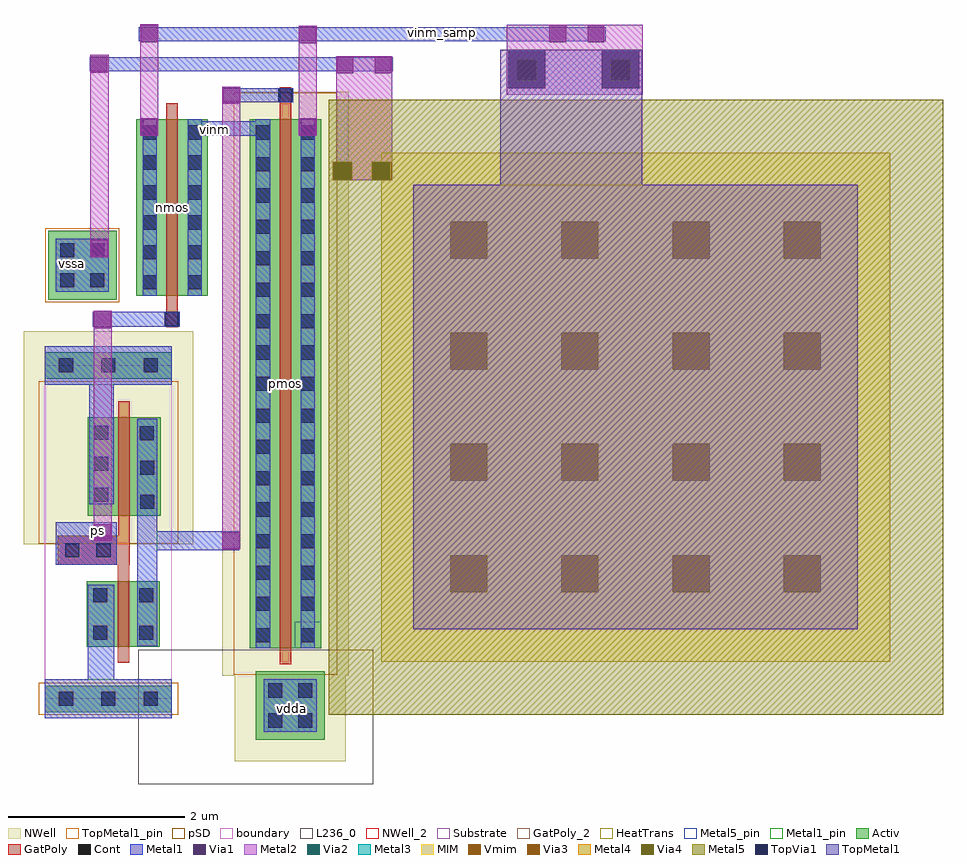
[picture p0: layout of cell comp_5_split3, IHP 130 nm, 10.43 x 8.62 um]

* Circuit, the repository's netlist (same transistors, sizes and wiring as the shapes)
* Extracted by KLayout with SG13G2 LVS runset on : 09/05/2024 11:33

* cell comp_5_split3
* pin sub!
.SUBCKT comp_5_split3 sub!
* device instance $1 r0 *1 -2.627,-4.93 sg13_lv_nmos
M$1 sub! \$10 \$6 sub! sg13_lv_nmos W=0.74 L=0.13
* device instance $2 r0 *1 -2.074,-0.319 sg13_lv_nmos
M$2 \$8 \$10 \$7 sub! sg13_lv_nmos W=2.0 L=0.13
* device instance $3 r0 *1 -2.617,-3.255 sg13_lv_pmos
M$3 \$11 \$10 \$6 \$11 sg13_lv_pmos W=1.12 L=0.13
* device instance $4 r0 *1 -0.789,-2.319 sg13_lv_pmos
M$4 \$7 \$6 \$8 \$1 sg13_lv_pmos W=6.0 L=0.12999999999999998
* device instance $5 r0 *1 -0.3,-6.07 cap_cmim
C$5 \$8 sub! cap_cmim w=5.77 l=5.77 m=1
.ENDS comp_5_split3

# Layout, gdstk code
from math import pi, radians
import gdstk
lib = gdstk.Library(unit=1e-6, precision=1e-09)
def R(c, l, rs):  # rectangles x0, y0, x1, y1
    for r in rs: c.add(gdstk.rectangle(r[:2], r[2:], *l))
def A(c, l, x, y, w, h, nx, ny, dx, dy):  # array of equal rectangles
    R(c, l, [(x+i*dx, y+j*dy, x+i*dx+w, y+j*dy+h) for i in range(nx) for j in range(ny)])
def P(c, l, *ps):  # polygons
    for p in ps: c.add(gdstk.Polygon(p, *l))
Activ = (1, 0)
GatPoly = (5, 0)
GatPoly_2 = (5, 2)
Cont = (6, 0)
Metal1 = (8, 0)
Metal1_pin = (8, 2)
Metal2 = (10, 0)
pSD = (14, 0)
Via1 = (19, 0)
Via2 = (29, 0)
Metal3 = (30, 0)
NWell = (31, 0)
NWell_2 = (31, 2)
MIM = (36, 0)
Substrate = (40, 0)
Via3 = (49, 0)
Metal4 = (50, 0)
HeatTrans = (51, 0)
Via4 = (66, 0)
Metal5 = (67, 0)
Metal5_pin = (67, 2)
TopVia1 = (125, 0)
TopMetal1 = (126, 0)
TopMetal1_pin = (126, 2)
Vmim = (129, 0)
boundary = (189, 4)
L236_0 = (236, 0)

cmim = lib.new_cell('cmim')
R(cmim, MIM, [(0,0,5.77,5.77)])
R(cmim, Metal5, [(-0.6,-0.6,6.37,6.37)])
R(cmim, Metal5_pin, [(-0.6,-0.6,6.37,6.37)])
R(cmim, TopMetal1, [(0.36,0.36,5.4,5.4)])
R(cmim, TopMetal1_pin, [(0.36,0.36,5.4,5.4)])
A(cmim, Vmim, 0.78, 0.78, 0.42, 0.42, 4, 4, 1.26, 1.26)

sg13g2_inv_1 = lib.new_cell('sg13g2_inv_1')
R(sg13g2_inv_1, Activ, [(0,-0.15,1.44,0.15), (0.475,0.59,1.305,1.33), (0.485,2.075,1.315,3.195), (0,3.63,1.44,3.93)])
P(sg13g2_inv_1, GatPoly, [(0.825,0.41),(0.825,1.52),(0.145,1.52),(0.145,1.85),(0.835,1.85),(0.835,3.375),(0.965,3.375),(0.965,1.52),(0.955,1.52),(0.955,0.41)])
A(sg13g2_inv_1, Cont, 0.56, 2.235, 0.16, 0.16, 1, 3, 0, 0.35)
R(sg13g2_inv_1, Cont, [(0.16,-0.08,0.32,0.08), (0.16,-0.08,0.32,0.08), (0.64,-0.08,0.8,0.08), (0.64,-0.08,0.8,0.08), (1.12,-0.08,1.28,0.08), (1.12,-0.08,1.28,0.08), (0.55,0.67,0.71,0.83), (1.07,0.67,1.23,0.83), (0.55,1.095,0.71,1.255), (1.07,1.095,1.23,1.255), (0.23,1.605,0.39,1.765), (0.585,1.605,0.745,1.765), (1.08,2.155,1.24,2.315), (1.08,2.54,1.24,2.7), (1.075,2.93,1.235,3.09), (0.16,3.7,0.32,3.86), (0.16,3.7,0.32,3.86), (0.64,3.7,0.8,3.86), (0.64,3.7,0.8,3.86), (1.12,3.7,1.28,3.86), (1.12,3.7,1.28,3.86)])
R(sg13g2_inv_1, Metal1, [(1.045,0.595,1.275,3.175), (0.125,1.52,0.815,2)])
P(sg13g2_inv_1, Metal1, [(0.505,2.205),(0.505,3.56),(0,3.56),(0,4),(1.44,4),(1.44,3.56),(0.78,3.56),(0.78,2.205)],
  [(0,-0.22),(0,0.22),(0.485,0.22),(0.485,1.295),(0.785,1.295),(0.785,0.22),(1.44,0.22),(1.44,-0.22)])
R(sg13g2_inv_1, Metal1_pin, [(0,-0.22,1.44,0.22), (1.045,0.595,1.275,3.175), (0.125,1.52,0.815,2), (0,3.56,1.44,4)])
R(sg13g2_inv_1, pSD, [(-0.07,-0.18,1.51,0.18), (-0.07,1.76,1.51,3.6)])
R(sg13g2_inv_1, NWell, [(-0.24,1.75,1.68,4.17)])
R(sg13g2_inv_1, boundary, [(0,0,1.44,3.78)])
sg13g2_inv_1.add(gdstk.Label('Y', (1.17,1.69), layer=8, texttype=25))
sg13g2_inv_1.add(gdstk.Label('A', (0.485,1.76), layer=8, texttype=25))
sg13g2_inv_1.add(gdstk.Label('VSS', (0.72,-0.02), layer=8, texttype=25))
sg13g2_inv_1.add(gdstk.Label('VDD', (0.705,3.78), layer=8, texttype=25))

ntap = lib.new_cell('ntap')
R(ntap, Activ, [(0,0,0.78,0.78)])
R(ntap, Cont, [(0.14,0.14,0.3,0.3), (0.48,0.14,0.64,0.3), (0.14,0.48,0.3,0.64), (0.48,0.48,0.64,0.64)])
R(ntap, Metal1, [(0.09,0.09,0.69,0.69)])
R(ntap, Metal1_pin, [(0.09,0.09,0.69,0.69)])
R(ntap, NWell, [(-0.24,-0.24,1.02,1.02)])
R(ntap, NWell_2, [(0,0,0.78,0.78)])
R(ntap, L236_0, [(-1.334,-0.5,1.334,1.02)])
ntap.add(gdstk.Label('well', (0,0), layer=63, texttype=0))
ntap.add(gdstk.Label('[@instanceName]', (0,0.26), layer=236, texttype=1))

ptap = lib.new_cell('ptap')
R(ptap, Activ, [(0,0,0.78,0.78)])
R(ptap, Cont, [(0.14,0.14,0.3,0.3), (0.48,0.14,0.64,0.3), (0.14,0.48,0.3,0.64), (0.48,0.48,0.64,0.64)])
R(ptap, Metal1, [(0.09,0.09,0.69,0.69)])
R(ptap, Metal1_pin, [(0.09,0.09,0.69,0.69)])
R(ptap, pSD, [(-0.03,-0.03,0.81,0.81)])

comp_5_split3 = lib.new_cell('comp_5_split3')
R(comp_5_split3, Activ, [(-1.194,-5.319,-0.894,-5.019), (-1.194,-5.319,-0.384,0.681), (-0.684,-5.319,-0.384,-5.019), (-2.479,-1.319,-2.179,-1.019), (-2.479,-1.319,-1.669,0.681), (-1.969,-1.319,-1.669,-1.019)])
R(comp_5_split3, GatPoly, [(-0.854,-5.499,-0.724,0.861), (-0.854,-5.499,-0.724,0.861), (-0.854,-5.499,-0.724,1.043), (-2.139,-1.675,-2.009,0.861)])
R(comp_5_split3, GatPoly_2, [(-2.139,-1.499,-2.009,0.861), (-2.139,-1.499,-2.009,0.861)])
A(comp_5_split3, Cont, -1.124, -5.249, 0.16, 0.16, 1, 4, 0, 0.355)
A(comp_5_split3, Cont, -0.614, -5.249, 0.16, 0.16, 1, 4, 0, 0.355)
A(comp_5_split3, Cont, -1.124, -3.824, 0.16, 0.16, 1, 4, 0, 0.355)
A(comp_5_split3, Cont, -0.614, -3.824, 0.16, 0.16, 1, 4, 0, 0.355)
A(comp_5_split3, Cont, -1.124, -2.399, 0.16, 0.16, 1, 4, 0, 0.355)
A(comp_5_split3, Cont, -0.614, -2.399, 0.16, 0.16, 1, 4, 0, 0.355)
A(comp_5_split3, Cont, -2.409, -1.249, 0.16, 0.16, 1, 6, 0, 0.34)
A(comp_5_split3, Cont, -1.899, -1.249, 0.16, 0.16, 1, 6, 0, 0.34)
A(comp_5_split3, Cont, -1.124, -0.974, 0.16, 0.16, 1, 4, 0, 0.355)
A(comp_5_split3, Cont, -0.614, -0.974, 0.16, 0.16, 1, 4, 0, 0.355)
R(comp_5_split3, Cont, [(-2.156,-1.668,-1.996,-1.508), (-1.124,0.451,-0.964,0.611), (-0.614,0.451,-0.454,0.611), (-0.87,0.875,-0.71,1.035)])
R(comp_5_split3, Metal1, [(-1.124,-5.319,-0.964,0.681), (-1.124,-5.319,-0.964,0.681), (-1.124,-5.319,-0.964,0.681), (-0.614,-5.319,-0.454,0.681), (-0.614,-5.319,-0.454,0.681), (-0.614,-5.319,-0.454,0.681), (-2.272,-4.208,-1.314,-3.988), (-2.974,-1.674,-1.988,-1.503), (-2.409,-1.319,-2.249,0.681), (-1.899,-1.319,-1.739,0.681), (-1.831,0.496,-1.033,0.656), (-1.501,0.875,-0.703,1.035), (-3.01,1.224,0.427,1.384), (-2.452,1.566,2.84,1.726)])
R(comp_5_split3, Metal1_pin, [(-2.409,-1.319,-2.249,0.681), (-2.409,-1.319,-2.249,0.681), (-1.899,-1.319,-1.739,0.681), (-1.899,-1.319,-1.739,0.681)])
R(comp_5_split3, Metal2, [(-1.506,-4.193,-1.301,1.049), (-2.962,-4.106,-2.757,-1.489), (-3,-0.882,-2.795,1.41), (-0.247,-0.012,-0.038,0.192), (0.196,-0.012,0.405,0.192), (-0.215,-0.011,0.423,1.394), (-0.64,0.494,-0.435,1.74), (-2.434,0.496,-2.229,1.761), (1.722,0.958,3.261,1.755), (1.847,1.136,2.051,1.345), (2.91,1.136,3.114,1.345)])
R(comp_5_split3, pSD, [(-1.374,-5.619,-0.204,0.981)])
R(comp_5_split3, Via1, [(-1.505,-4.19,-1.315,-4), (-2.954,-4.1,-2.764,-3.91), (-2.956,-1.687,-2.766,-1.497), (-2.991,-0.876,-2.801,-0.686), (-0.631,0.5,-0.441,0.69), (-2.425,0.502,-2.235,0.692), (-1.497,0.854,-1.307,1.044), (1.852,1.146,2.042,1.336), (2.915,1.146,3.105,1.336), (-0.21,1.2,-0.02,1.39), (0.223,1.2,0.413,1.39), (-2.997,1.206,-2.807,1.396), (-0.637,1.544,-0.447,1.734), (-2.431,1.554,-2.241,1.744), (2.204,1.554,2.394,1.744), (2.637,1.554,2.827,1.744)])
R(comp_5_split3, Via2, [(-0.237,-0.003,-0.047,0.187), (0.206,-0.003,0.396,0.187), (1.852,1.146,2.042,1.336), (2.915,1.146,3.105,1.336)])
R(comp_5_split3, Metal3, [(-0.245,-0.012,-0.037,0.194), (0.198,-0.012,0.406,0.194), (1.845,1.138,2.051,1.346), (2.908,1.138,3.114,1.346)])
R(comp_5_split3, NWell, [(-1.504,-5.629,-0.074,0.991)])
R(comp_5_split3, Substrate, [(-0.684,-5.319,-0.384,-5.019), (-0.684,-5.319,-0.384,-5.019)])
R(comp_5_split3, Via3, [(-0.237,-0.003,-0.047,0.187), (0.206,-0.003,0.396,0.187), (1.852,1.146,2.042,1.336), (2.915,1.146,3.105,1.336)])
R(comp_5_split3, Metal4, [(-0.252,-0.013,-0.034,0.197), (0.191,-0.013,0.409,0.197), (1.842,1.131,2.052,1.349), (2.905,1.131,3.115,1.349)])
R(comp_5_split3, HeatTrans, [(-0.854,-5.499,-0.724,0.861), (-2.139,-1.499,-2.009,0.861)])
R(comp_5_split3, Via4, [(-0.237,-0.003,-0.047,0.187), (0.206,-0.003,0.396,0.187), (1.852,1.146,2.042,1.336), (2.915,1.146,3.105,1.336)])
R(comp_5_split3, Metal5, [(1.837,1.126,2.057,1.354), (2.9,1.126,3.12,1.354)])
R(comp_5_split3, TopVia1, [(1.737,1.031,2.157,1.451), (2.8,1.031,3.22,1.451)])
R(comp_5_split3, TopMetal1, [(1.648,-0.191,3.259,1.47)])
comp_5_split3.add(gdstk.Reference(cmim, (0.3,0.3), rotation=3*pi/2))
comp_5_split3.add(gdstk.Reference(sg13g2_inv_1, (-3.517,-5.89)))
comp_5_split3.add(gdstk.Reference(ntap, (-1.125,-6.356)))
comp_5_split3.add(gdstk.Reference(ptap, (-3.481,-1.364)))
comp_5_split3.add(gdstk.Label('vdda', (-0.724,-6.005), layer=8, texttype=25))
comp_5_split3.add(gdstk.Label('vssa', (-3.211,-0.954), layer=8, texttype=25))
comp_5_split3.add(gdstk.Label('vinm', (-1.59,0.562), layer=8, texttype=25))
comp_5_split3.add(gdstk.Label('vinm_samp', (0.995,1.662), layer=8, texttype=25))
comp_5_split3.add(gdstk.Label('ps', (-2.92,-3.978), layer=8, texttype=25))
comp_5_split3.add(gdstk.Label('pmos', (-0.789,-2.319), layer=63, texttype=0))
comp_5_split3.add(gdstk.Label('pmos', (-0.789,-2.319), layer=51, texttype=0))
comp_5_split3.add(gdstk.Label('nmos', (-2.074,-0.319), layer=51, texttype=0))

lib.write_gds('comp_5_split3.gds')
